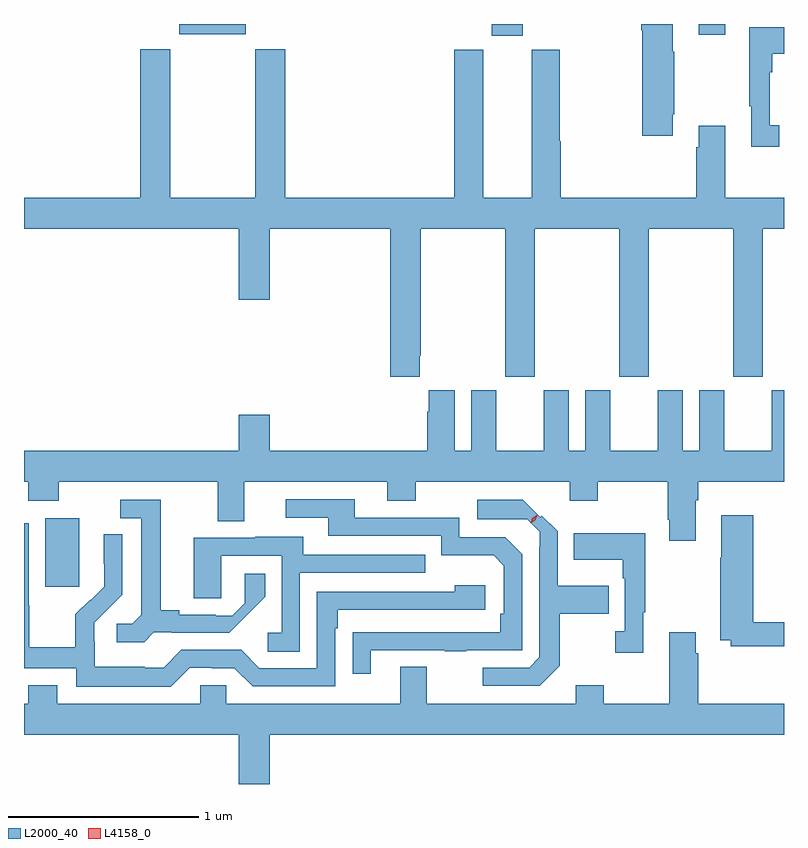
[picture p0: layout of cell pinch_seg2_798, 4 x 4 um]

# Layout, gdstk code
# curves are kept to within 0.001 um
import gdstk
lib = gdstk.Library(unit=1e-6, precision=1e-09)
def R(c, l, rs):  # rectangles x0, y0, x1, y1
    for r in rs: c.add(gdstk.rectangle(r[:2], r[2:], *l))
def P(c, l, *ps):  # polygons
    for p in ps: c.add(gdstk.Polygon(p, *l))
L2000_40 = (2000, 40)
L4158_0 = (4158, 0)

pinch_seg2_798 = lib.new_cell('pinch_seg2_798')
R(pinch_seg2_798, L2000_40, [(679.475,592.473,679.654,592.834), (681.824,595.371,681.988,595.434), (682.913,595.377,683.053,595.434), (680.18,595.379,680.53,595.434)])
P(pinch_seg2_798, L2000_40, [(682.777,594.958),(682.785,594.958),(682.785,595.289),(682.777,595.289),(682.777,595.434),(682.61,595.434),(682.61,595.4),(682.615,595.4),(682.615,594.846),(682.777,594.846)],
  [(683.338,594.902),(683.286,594.902),(683.286,595.181),(683.299,595.181),(683.299,595.277),(683.362,595.277),(683.362,595.417),(683.178,595.417),(683.178,595.001),(683.189,595.001),(683.189,594.789),(683.338,594.789)],
  [(681.445,593.689),(681.45,593.689),(681.45,594.356),(681.895,594.356),(681.895,593.577),(682.05,593.577),(682.05,594.356),(682.495,594.356),(682.495,593.577),(682.65,593.577),(682.65,594.356),(683.095,594.356),(683.095,593.577),(683.25,593.577),(683.25,594.356),(683.362,594.356),(683.362,594.52),(683.053,594.52),(683.053,594.898),(682.913,594.898),(682.913,594.785),(682.901,594.785),(682.901,594.52),(682.187,594.52),(682.187,594.816),(682.182,594.816),(682.182,595.299),(682.034,595.299),(682.034,594.52),(681.778,594.52),(681.778,595.299),(681.626,595.299),(681.626,594.52),(680.738,594.52),(680.738,595.3),(680.578,595.3),(680.578,594.52),(680.133,594.52),(680.133,595.3),(679.973,595.3),(679.973,594.52),(679.362,594.52),(679.362,594.356),(680.492,594.356),(680.492,593.982),(680.656,593.982),(680.656,594.356),(681.29,594.356),(681.29,593.577),(681.445,593.577)],
  [(682.897,592.928),(682.91,592.928),(682.91,593.024),(683.362,593.024),(683.362,593.506),(683.297,593.506),(683.297,593.188),(683.047,593.188),(683.047,593.506),(682.916,593.506),(682.916,593.188),(682.828,593.188),(682.828,593.506),(682.697,593.506),(682.697,593.188),(682.447,593.188),(682.447,593.506),(682.316,593.506),(682.316,593.188),(682.228,593.188),(682.228,593.506),(682.097,593.506),(682.097,593.188),(681.847,593.188),(681.847,593.506),(681.716,593.506),(681.716,593.188),(681.628,593.188),(681.628,593.506),(681.491,593.506),(681.491,593.393),(681.485,593.393),(681.485,593.188),(680.656,593.188),(680.656,593.377),(680.492,593.377),(680.492,593.188),(679.362,593.188),(679.362,593.024),(679.385,593.024),(679.385,592.925),(679.545,592.925),(679.545,593.024),(680.381,593.024),(680.381,592.816),(680.521,592.816),(680.521,593.024),(681.275,593.024),(681.275,592.925),(681.423,592.925),(681.423,593.024),(682.235,593.024),(682.235,592.925),(682.383,592.925),(682.383,593.024),(682.75,593.024),(682.75,592.825),(682.757,592.825),(682.757,592.713),(682.897,592.713)],
  [(681.187,592.137),(681.577,592.137),(681.577,592.132),(681.689,592.132),(681.689,592.137),(681.984,592.137),(681.984,592.644),(681.894,592.734),(681.654,592.734),(681.654,592.836),(681.103,592.836),(681.103,592.932),(680.739,592.932),(680.739,592.836),(680.963,592.836),(680.963,592.74),(681.558,592.74),(681.558,592.637),(681.835,592.637),(681.888,592.584),(681.888,592.33),(681.868,592.33),(681.868,592.233),(681.091,592.232),(681.091,592.014),(681.187,592.014)],
  [(682.183,592.057),(682.183,592.33),(682.439,592.33),(682.439,592.477),(682.17,592.477),(682.17,592.764),(682.088,592.847),(682.079,592.838),(681.987,592.929),(681.747,592.929),(681.747,592.827),(682.011,592.827),(682.077,592.761),(682.077,592.679),(682.074,592.679),(682.074,592.101),(682.02,592.047),(681.777,592.047),(681.777,591.951),(682.077,591.951)],
  [(680.046,592.233),(680.14,592.233),(680.14,592.23),(680.443,592.23),(680.633,592.42),(680.633,592.54),(680.523,592.54),(680.523,592.386),(680.457,592.32),(680.372,592.32),(680.372,592.326),(680.179,592.326),(680.179,592.349),(680.083,592.349),(680.083,592.929),(679.869,592.929),(679.869,592.833),(679.979,592.833),(679.979,592.325),(679.932,592.278),(679.851,592.278),(679.851,592.181),(679.994,592.181)],
  [(683.362,592.286),(683.201,592.286),(683.201,592.849),(683.033,592.849),(683.033,592.625),(683.026,592.625),(683.026,592.19),(683.082,592.19),(683.082,592.158),(683.362,592.158)],
  [(680.235,592.047),(680.351,592.047),(680.351,592.044),(680.469,592.044),(680.565,591.948),(681,591.948),(681,592.253),(681.013,592.253),(681.013,592.35),(681.79,592.35),(681.79,592.48),(681.629,592.48),(681.629,592.446),(680.904,592.446),(680.904,592.044),(680.601,592.044),(680.505,592.14),(680.19,592.14),(680.097,592.047),(679.997,592.047),(679.997,592.051),(679.734,592.051),(679.734,592.185),(679.732,592.185),(679.732,592.282),(679.878,592.43),(679.878,592.748),(679.782,592.748),(679.782,592.594),(679.784,592.594),(679.784,592.472),(679.713,592.401),(679.71,592.404),(679.633,592.327),(679.633,592.153),(679.389,592.153),(679.389,592.376),(679.386,592.376),(679.386,592.806),(679.362,592.806),(679.362,592.044),(679.638,592.044),(679.638,591.947),(680.135,591.947)],
  [(682.621,592.337),(682.633,592.337),(682.633,592.753),(682.255,592.753),(682.255,592.613),(682.512,592.613),(682.512,592.517),(682.524,592.517),(682.524,592.238),(682.473,592.238),(682.473,592.125),(682.621,592.125)],
  [(680.814,592.545),(681.473,592.545),(681.473,592.641),(680.833,592.641),(680.833,592.735),(680.579,592.735),(680.579,592.731),(680.255,592.731),(680.255,592.411),(680.401,592.411),(680.401,592.635),(680.718,592.635),(680.718,592.23),(680.646,592.23),(680.646,592.129),(680.814,592.129)],
  [(680.656,591.692),(683.362,591.692),(683.362,591.856),(682.91,591.856),(682.91,592.121),(682.897,592.121),(682.897,592.234),(682.757,592.234),(682.757,591.856),(682.413,591.856),(682.413,591.955),(682.265,591.955),(682.265,591.856),(681.481,591.856),(681.481,592.051),(681.341,592.051),(681.341,591.856),(680.427,591.856),(680.427,591.954),(680.289,591.954),(680.289,591.856),(679.537,591.856),(679.537,591.955),(679.385,591.955),(679.385,591.856),(679.362,591.856),(679.362,591.692),(680.492,591.692),(680.492,591.434),(680.656,591.434)])
P(pinch_seg2_798, L4158_0, [(682.028,592.806),(682.028,592.806),(682.037,592.834),(682.062,592.851),(682.062,592.851),(682.062,592.85),(682.053,592.822),(682.029,592.806)])

lib.write_gds('pinch_seg2_798.gds')
